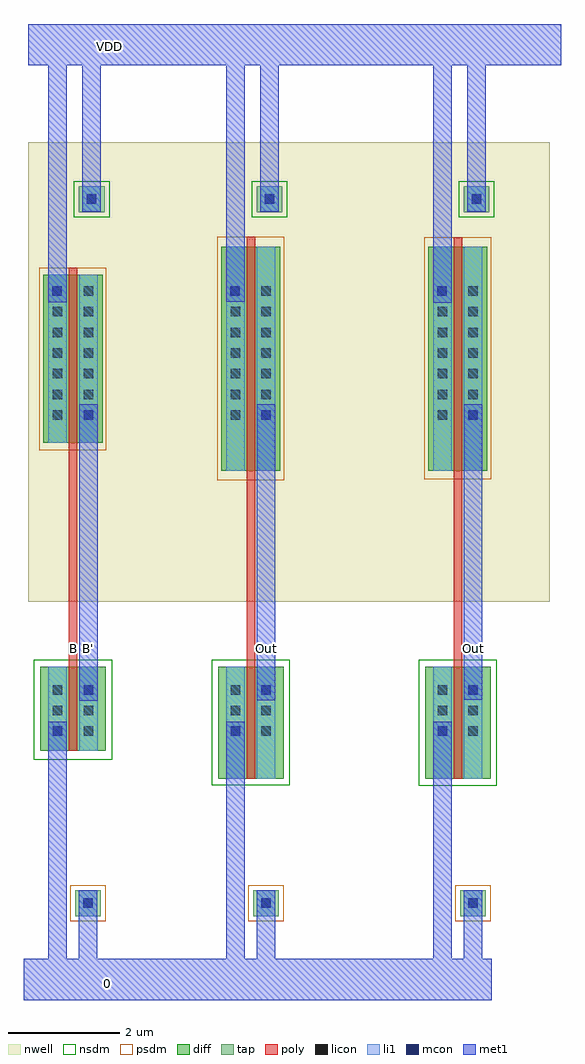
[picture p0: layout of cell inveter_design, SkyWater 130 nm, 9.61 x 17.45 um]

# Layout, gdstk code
import gdstk
lib = gdstk.Library(unit=1e-6, precision=5e-09)
def R(c, l, rs):  # rectangles x0, y0, x1, y1
    for r in rs: c.add(gdstk.rectangle(r[:2], r[2:], *l))
def A(c, l, x, y, w, h, nx, ny, dx, dy):  # array of equal rectangles
    R(c, l, [(x+i*dx, y+j*dy, x+i*dx+w, y+j*dy+h) for i in range(nx) for j in range(ny)])
nwell = (64, 20)
diff = (65, 20)
tap = (65, 44)
poly = (66, 20)
licon = (66, 44)
li1 = (67, 20)
mcon = (67, 44)
met1 = (68, 20)
nsdm = (93, 44)
psdm = (94, 20)

inveter_design = lib.new_cell('inveter_design')
R(inveter_design, nwell, [(10.96,-10.4,20.28,-2.185)])
R(inveter_design, diff, [(14.355,-13.56,15.525,-11.56), (18.055,-13.56,19.225,-11.56), (11.175,-13.06,12.345,-11.56), (14.41,-8.055,15.47,-4.055), (18.11,-8.055,19.17,-4.055), (11.23,-7.555,12.29,-4.555)])
R(inveter_design, tap, [(11.8,-16.015,12.26,-15.555), (14.98,-16.015,15.44,-15.555), (18.68,-16.015,19.14,-15.555), (11.865,-3.435,12.325,-2.97), (15.045,-3.435,15.505,-2.97), (18.745,-3.435,19.205,-2.97)])
R(inveter_design, poly, [(14.865,-13.56,15.015,-3.875), (18.565,-13.56,18.715,-3.88), (11.685,-13.06,11.835,-4.425)])
A(inveter_design, licon, 11.4, -12.795, 0.17, 0.17, 1, 3, 0, 0.37)
A(inveter_design, licon, 11.95, -12.795, 0.17, 0.17, 1, 3, 0, 0.37)
A(inveter_design, licon, 14.58, -12.795, 0.17, 0.17, 1, 3, 0, 0.37)
A(inveter_design, licon, 15.13, -12.795, 0.17, 0.17, 1, 3, 0, 0.37)
A(inveter_design, licon, 18.28, -12.795, 0.17, 0.17, 1, 3, 0, 0.37)
A(inveter_design, licon, 18.83, -12.795, 0.17, 0.17, 1, 3, 0, 0.37)
A(inveter_design, licon, 11.4, -7.145, 0.17, 0.17, 1, 6, 0, 0.37)
A(inveter_design, licon, 11.95, -7.145, 0.17, 0.17, 1, 7, 0, 0.37)
A(inveter_design, licon, 14.58, -7.145, 0.17, 0.17, 1, 6, 0, 0.37)
A(inveter_design, licon, 15.13, -7.145, 0.17, 0.17, 1, 7, 0, 0.37)
A(inveter_design, licon, 18.28, -7.145, 0.17, 0.17, 1, 6, 0, 0.37)
A(inveter_design, licon, 18.83, -7.145, 0.17, 0.17, 1, 7, 0, 0.37)
R(inveter_design, licon, [(11.945,-15.87,12.115,-15.7), (15.125,-15.87,15.295,-15.7), (18.825,-15.87,18.995,-15.7), (11.39,-4.925,11.56,-4.755), (14.57,-4.925,14.74,-4.755), (18.27,-4.925,18.44,-4.755), (12.01,-3.285,12.18,-3.115), (15.19,-3.285,15.36,-3.115), (18.89,-3.285,19.06,-3.115)])
R(inveter_design, li1, [(11.865,-16.015,12.195,-15.555), (15.045,-16.015,15.375,-15.555), (18.745,-16.015,19.075,-15.555), (14.5,-13.56,14.83,-11.56), (15.05,-13.56,15.38,-11.56), (18.2,-13.56,18.53,-11.56), (18.75,-13.56,19.08,-11.56), (11.32,-13.06,11.65,-11.56), (11.87,-13.06,12.2,-11.56), (14.5,-8.055,14.83,-4.055), (15.05,-8.055,15.38,-4.055), (18.2,-8.055,18.53,-4.055), (18.75,-8.055,19.08,-4.055), (11.32,-7.555,11.65,-4.555), (11.87,-7.555,12.2,-4.555), (11.93,-3.43,12.26,-2.97), (15.11,-3.43,15.44,-2.97), (18.81,-3.43,19.14,-2.97)])
R(inveter_design, mcon, [(11.945,-15.87,12.115,-15.7), (15.125,-15.87,15.295,-15.7), (18.825,-15.87,18.995,-15.7), (11.4,-12.795,11.57,-12.625), (14.58,-12.795,14.75,-12.625), (18.28,-12.795,18.45,-12.625), (11.95,-12.055,12.12,-11.885), (15.13,-12.055,15.3,-11.885), (18.83,-12.055,19,-11.885), (11.95,-7.145,12.12,-6.975), (15.13,-7.145,15.3,-6.975), (18.83,-7.145,19,-6.975), (11.39,-4.925,11.56,-4.755), (14.57,-4.925,14.74,-4.755), (18.27,-4.925,18.44,-4.755), (12.01,-3.285,12.18,-3.115), (15.19,-3.285,15.36,-3.115), (18.89,-3.285,19.06,-3.115)])
R(inveter_design, met1, [(10.88,-17.515,19.25,-16.775), (11.32,-17.515,11.65,-12.545), (11.865,-17.515,12.195,-15.555), (14.5,-17.515,14.83,-12.545), (15.045,-17.515,15.375,-15.555), (18.2,-17.515,18.535,-12.545), (18.745,-17.515,19.075,-15.555), (11.87,-12.165,12.2,-6.865), (15.05,-12.16,15.38,-6.865), (18.75,-12.15,19.08,-6.865), (18.2,-5.05,18.53,-0.085), (11.32,-5.04,11.65,-0.075), (14.505,-5.035,14.835,-0.07), (11.93,-3.43,12.26,-0.07), (15.105,-3.43,15.435,-0.07), (18.81,-3.43,19.14,-0.07), (10.965,-0.81,20.49,-0.07)])
R(inveter_design, nsdm, [(17.94,-13.685,19.34,-11.43), (14.24,-13.68,15.64,-11.43), (11.06,-13.22,12.46,-11.43), (11.775,-3.52,12.415,-2.88), (14.955,-3.52,15.595,-2.88), (18.655,-3.52,19.295,-2.88)])
R(inveter_design, psdm, [(11.71,-16.105,12.35,-15.465), (14.89,-16.105,15.53,-15.465), (18.59,-16.105,19.23,-15.465), (14.34,-8.225,15.54,-3.875), (18.04,-8.21,19.24,-3.88), (11.16,-7.685,12.36,-4.425)])
inveter_design.add(gdstk.Label("B'", (12.04,-11.23), layer=68, texttype=16))
inveter_design.add(gdstk.Label('VDD', (12.41,-0.465), layer=68, texttype=16))
inveter_design.add(gdstk.Label('Out', (15.22,-11.23), layer=68, texttype=16))
inveter_design.add(gdstk.Label('Out', (18.92,-11.23), layer=68, texttype=16))
inveter_design.add(gdstk.Label('0', (12.385,-17.22), layer=68, texttype=16))
inveter_design.add(gdstk.Label('B', (11.765,-11.235), layer=66, texttype=16))
inveter_design.add(gdstk.Label('In', (14.945,-11.235), layer=66, texttype=16))
inveter_design.add(gdstk.Label('In', (18.645,-11.235), layer=66, texttype=16))

lib.write_gds('inveter_design.gds')
